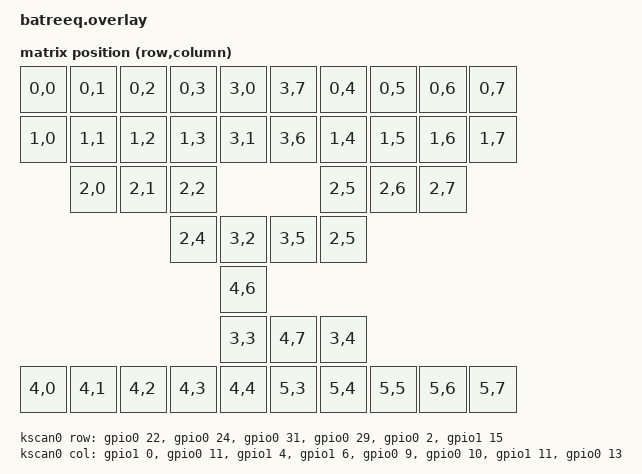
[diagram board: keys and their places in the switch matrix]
/*
 * Copyright (c) 2021 The ZMK Contributors
 *
 * SPDX-License-Identifier: MIT
 */

#include <dt-bindings/zmk/matrix_transform.h>
#include "vik_connector.dtsi"

&pinctrl {
    spi0_default: spi0_default {
        group1 {
            psels = <NRF_PSEL(SPIM_SCK, 1, 2)>,
                <NRF_PSEL(SPIM_MOSI, 1, 1)>,
                <NRF_PSEL(SPIM_MISO, 0, 19)>; /* GPIO0 19 is not broken on a nice!nano.*/
        };
    };
    spi0_sleep: spi0_sleep {
        group1 {
            psels = <NRF_PSEL(SPIM_SCK, 1, 2)>,
                <NRF_PSEL(SPIM_MOSI, 1, 1)>,
                <NRF_PSEL(SPIM_MISO, 0, 19)>; /* GPIO0 19 is not broken on a nice!nano.*/
            low-power-enable;
        };
    };

// map to pins in vik connector
    spi1_vik_pmw3610_default: spi1_vik_pmw3610_default {
        group1 {
            psels = <NRF_PSEL(SPIM_SCK, 0, 20)>,
                <NRF_PSEL(SPIM_MOSI, 0, 17)>,
                <NRF_PSEL(SPIM_MISO, 0, 17)>;
        };
    };

    spi1_vik_pmw3610_sleep: spi1_vik_pmw3610_sleep {
        group1 {
            psels = <NRF_PSEL(SPIM_SCK, 0, 20)>,
                <NRF_PSEL(SPIM_MOSI, 0, 17)>,
                <NRF_PSEL(SPIM_MISO, 0, 17)>;
            low-power-enable;
        };
    };

};


nice_view_spi: &spi0 {
    compatible = "nordic,nrf-spim";
    pinctrl-0 = <&spi0_default>;
    pinctrl-1 = <&spi0_sleep>;
    pinctrl-names = "default", "sleep";
    cs-gpios = <&gpio1 7 GPIO_ACTIVE_HIGH>;
};


// map CS correctly
vik_spi_pmw3610: &spi1 {
    compatible = "nordic,nrf-spim";
    pinctrl-0 = <&spi1_vik_pmw3610_default>;
    pinctrl-1 = <&spi1_vik_pmw3610_sleep>;
    pinctrl-names = "default", "sleep";
    cs-gpios = <&gpio0 8 GPIO_ACTIVE_HIGH>;
};



/ {
    chosen {
        zmk,kscan = &kscan0;
        zmk,matrix_transform = &default_transform;
    };

    default_transform: keymap_transform_0 {
        compatible = "zmk,matrix-transform";
        columns = <8>;
        rows = <5>;
        map = <
        RC(0,0) RC(0,1) RC(0,2) RC(0,3) RC(3,0)   RC(3,7) RC(0,4) RC(0,5) RC(0,6) RC(0,7)
        RC(1,0) RC(1,1) RC(1,2) RC(1,3) RC(3,1)   RC(3,6) RC(1,4) RC(1,5) RC(1,6) RC(1,7)
                RC(2,0) RC(2,1) RC(2,2)                   RC(2,5) RC(2,6) RC(2,7)
                                RC(2,4) RC(3,2)   RC(3,5) RC(2,5)
                                             
                                             RC(4,6)
                                     RC(3,3) RC(4,7) RC(3,4)

        RC(4,0) RC(4,1) RC(4,2) RC(4,3) RC(4,4)   RC(5,3) RC(5,4) RC(5,5) RC(5,6) RC(5,7)
                             

        >;
    };

    kscan0: kscan_0 {
        compatible = "zmk,kscan-gpio-matrix";
        label = "KSCAN";
        diode-direction = "col2row";
        wakeup-source; 

        col-gpios
            = <&gpio1 0  GPIO_ACTIVE_HIGH>
            , <&gpio0 11 GPIO_ACTIVE_HIGH>
            , <&gpio1 4  GPIO_ACTIVE_HIGH>
            , <&gpio1 6  GPIO_ACTIVE_HIGH>
            , <&gpio0 9  GPIO_ACTIVE_HIGH>
            , <&gpio0 10 GPIO_ACTIVE_HIGH>
            , <&gpio1 11 GPIO_ACTIVE_HIGH>
            , <&gpio0 13 GPIO_ACTIVE_HIGH>
            ;

        row-gpios
            = <&gpio0 22 (GPIO_ACTIVE_HIGH | GPIO_PULL_DOWN)>
            , <&gpio0 24 (GPIO_ACTIVE_HIGH | GPIO_PULL_DOWN)>
            , <&gpio0 31 (GPIO_ACTIVE_HIGH | GPIO_PULL_DOWN)>
            , <&gpio0 29 (GPIO_ACTIVE_HIGH | GPIO_PULL_DOWN)>
            , <&gpio0 2  (GPIO_ACTIVE_HIGH | GPIO_PULL_DOWN)>
            , <&gpio1 15 (GPIO_ACTIVE_HIGH | GPIO_PULL_DOWN)>
            ;
    };

};
